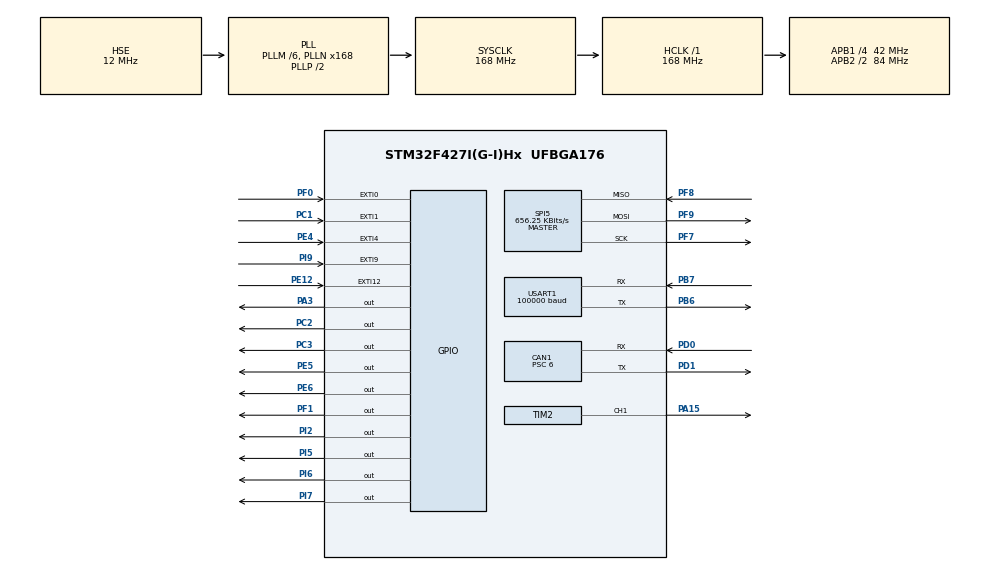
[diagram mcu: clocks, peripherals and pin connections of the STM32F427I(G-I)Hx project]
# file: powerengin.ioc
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CAN1.BS1=CAN_BS1_4TQ
CAN1.BS2=CAN_BS2_2TQ
CAN1.CalculateTimeQuantum=142.85714285714286
CAN1.Prescaler=6
CAN1.SJW=CAN_SJW_1TQ
Dma.Request0=USART1_RX
Dma.USART1_RX.0.Direction=DMA_PERIPH_TO_MEMORY
Dma.USART1_RX.0.FIFOMode=DMA_FIFOMODE_DISABLE
Dma.USART1_RX.0.Instance=DMA2_Stream2
Dma.USART1_RX.0.MemDataAlignment=DMA_MDATAALIGN_BYTE
Dma.USART1_RX.0.MemInc=DMA_MINC_ENABLE
Dma.USART1_RX.0.Mode=DMA_CIRCULAR
Dma.USART1_RX.0.PeriphDataAlignment=DMA_PDATAALIGN_BYTE
Dma.USART1_RX.0.PeriphInc=DMA_PINC_DISABLE
Dma.USART1_RX.0.Priority=DMA_PRIORITY_LOW
Mcu.Family=STM32F4
Mcu.Name=STM32F427I(G-I)Hx
Mcu.Package=UFBGA176
NVIC.CAN1_RX0_IRQn=true\:0\:0\:false\:false\:true\:true\:true
NVIC.DMA2_Stream2_IRQn=true\:0\:0\:false\:false\:true\:false\:true
NVIC.EXTI0_IRQn=true\:0\:0\:false\:false\:true\:true\:true
NVIC.EXTI15_10_IRQn=true\:0\:0\:false\:false\:true\:true\:true
NVIC.EXTI1_IRQn=true\:0\:0\:false\:false\:true\:true\:true
NVIC.EXTI4_IRQn=true\:0\:0\:false\:false\:true\:true\:true
NVIC.EXTI9_5_IRQn=true\:0\:0\:false\:false\:true\:true\:true
NVIC.PriorityGroup=NVIC_PRIORITYGROUP_4
NVIC.TIM2_IRQn=true\:0\:0\:false\:false\:true\:true\:true
PA15.Signal=S_TIM2_CH1_ETR
PA3.Signal=GPIO_Output
PB6.Mode=Asynchronous
PB6.Signal=USART1_TX
PB7.Mode=Asynchronous
PB7.Signal=USART1_RX
PC1.GPIO_ModeDefaultEXTI=GPIO_MODE_IT_FALLING
PC1.Signal=GPXTI1
PC2.Signal=GPIO_Output
PC3.Signal=GPIO_Output
PD0.Mode=Master
PD0.Signal=CAN1_RX
PD1.Mode=Master
PD1.Signal=CAN1_TX
PE12.GPIO_ModeDefaultEXTI=GPIO_MODE_IT_FALLING
PE12.Signal=GPXTI12
PE4.GPIO_ModeDefaultEXTI=GPIO_MODE_IT_FALLING
PE4.Signal=GPXTI4
PE5.Signal=GPIO_Output
PE6.Signal=GPIO_Output
PF0.GPIO_ModeDefaultEXTI=GPIO_MODE_IT_FALLING
PF0.Signal=GPXTI0
PF1.Signal=GPIO_Output
PF7.Mode=Full_Duplex_Master
PF7.Signal=SPI5_SCK
PF8.Mode=Full_Duplex_Master
PF8.Signal=SPI5_MISO
PF9.Mode=Full_Duplex_Master
PF9.Signal=SPI5_MOSI
PH0/OSC_IN.Mode=HSE-External-Oscillator
PH0/OSC_IN.Signal=RCC_OSC_IN
PH1/OSC_OUT.Mode=HSE-External-Oscillator
PH1/OSC_OUT.Signal=RCC_OSC_OUT
PI2.Signal=GPIO_Output
PI5.Signal=GPIO_Output
PI6.Signal=GPIO_Output
PI7.Signal=GPIO_Output
PI9.GPIO_ModeDefaultEXTI=GPIO_MODE_IT_FALLING
PI9.Signal=GPXTI9
ProjectManager.HeapSize=0x200
ProjectManager.StackSize=0x400
ProjectManager.TargetToolchain=MDK-ARM V5
RCC.48MHZClocksFreq_Value=84000000
RCC.AHBFreq_Value=168000000
RCC.APB1CLKDivider=RCC_HCLK_DIV4
RCC.APB1Freq_Value=42000000
RCC.APB1TimFreq_Value=84000000
RCC.APB2CLKDivider=RCC_HCLK_DIV2
RCC.APB2Freq_Value=84000000
RCC.APB2TimFreq_Value=168000000
RCC.CortexFreq_Value=168000000
RCC.HCLKFreq_Value=168000000
RCC.HSE_VALUE=12000000
RCC.HSI_VALUE=16000000
RCC.LSE_VALUE=32768
RCC.PLLM=6
RCC.PLLN=168
RCC.PLLSourceVirtual=RCC_PLLSOURCE_HSE
RCC.SYSCLKFreq_VALUE=168000000
RCC.SYSCLKSource=RCC_SYSCLKSOURCE_PLLCLK
RCC.VCOOutputFreq_Value=336000000
SH.S_TIM2_CH1_ETR.0=TIM2_CH1,Output Compare1 CH1
SPI5.BaudRatePrescaler=SPI_BAUDRATEPRESCALER_128
SPI5.CalculateBaudRate=656.25 KBits/s
SPI5.Direction=SPI_DIRECTION_2LINES
SPI5.Mode=SPI_MODE_MASTER
SPI5.VirtualType=VM_MASTER
TIM2.Channel-Output\ Compare1\ CH1=TIM_CHANNEL_1
TIM2.Period=19999
TIM2.Prescaler=83
USART1.BaudRate=100000
USART1.Parity=PARITY_EVEN
USART1.VirtualMode=VM_ASYNC
VP_TIM2_VS_ClockSourceINT.Mode=Internal
board=custom

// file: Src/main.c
/* USER CODE BEGIN Header */
/**
  ******************************************************************************
  * @file           : main.c
  * @brief          : Main program body
  ******************************************************************************
  * @attention
  *
  * <h2><center>&copy; Copyright (c) 2020 STMicroelectronics.
  * All rights reserved.</center></h2>
  *
  * This software component is licensed by ST under BSD 3-Clause license,
  * the "License"; You may not use this file except in compliance with the
  * License. You may obtain a copy of the License at:
  *                        opensource.org/licenses/BSD-3-Clause
  *
  ******************************************************************************
  */
/* USER CODE END Header */

#include "main.h"
#include "can.h"
#include "dma.h"
#include "spi.h"
#include "tim.h"
#include "usart.h"
#include "gpio.h"

/* USER CODE BEGIN Includes */
#include "runfunction.h"
#include "bsp_imu.h"
#include "get_data.h"
#include "pid.h"
#include "math.h"
/* USER CODE END Includes */

void SystemClock_Config(void);

int main(void)
{

  /* MCU Configuration--------------------------------------------------------*/

  /* Reset of all peripherals, Initializes the Flash interface and the Systick. */
  HAL_Init();

  /* Configure the system clock */
  SystemClock_Config();

  /* Initialize all configured peripherals */
  MX_GPIO_Init();
  MX_DMA_Init();
  MX_CAN1_Init();
  MX_USART1_UART_Init();
  MX_TIM2_Init();
  MX_SPI5_Init();
  /* USER CODE BEGIN 2 */

	led_off();
	mpu_device_init();
	init_quaternion();

	CANfilterConf(&hcan1);
	__HAL_UART_ENABLE_IT(&huart1,UART_IT_IDLE);
	HAL_UART_Receive_DMA(&huart1,	mybuffer,18);
	HAL_CAN_Start(&hcan1);
	Chassis_pid_init();

	get_number();
	middleLED(num[0]);
	HAL_TIM_Base_Start_IT(&htim2);
  /* USER CODE END 2 */

  /* Infinite loop */
  while (1)
  {

    /* USER CODE BEGIN 3 */
		mpu_get_data();
		//pid_calc(&pid_3508_remote_spd[0],-imu.wz,1);
		//pid_calc(&pid_3508_remote_spd[0],-imu.wz,0.785*sin(1.884*time1*0.02)+1.305);
		//Send_message(pid_3508_remote_spd[0].pos_out);
		HAL_Delay(10);
		if(j<5)
		{
			if(TIM_STA==125)
			{
				HAL_GPIO_WritePin(GPIOE, GPIO_PIN_5|GPIO_PIN_6, GPIO_PIN_RESET);
				HAL_GPIO_WritePin(GPIOI, GPIO_PIN_7|GPIO_PIN_6|GPIO_PIN_5|GPIO_PIN_2, GPIO_PIN_RESET);
				HAL_GPIO_WritePin(GPIOF, GPIO_PIN_1, GPIO_PIN_RESET);
				HAL_GPIO_WritePin(GPIOC, GPIO_PIN_2|GPIO_PIN_3, GPIO_PIN_RESET);
				HAL_GPIO_WritePin(GPIOA, GPIO_PIN_3, GPIO_PIN_RESET);

				get_number();
				middleLED(num[0]);
				TIM_STA=0;
				TIM2->CNT=0;
				j=0;
			}
		}
  }
  /* USER CODE END 3 */
}

void SystemClock_Config(void)
{
  RCC_OscInitTypeDef RCC_OscInitStruct = {0};
  RCC_ClkInitTypeDef RCC_ClkInitStruct = {0};

  /** Configure the main internal regulator output voltage
  */
  __HAL_RCC_PWR_CLK_ENABLE();
  __HAL_PWR_VOLTAGESCALING_CONFIG(PWR_REGULATOR_VOLTAGE_SCALE1);
  /** Initializes the CPU, AHB and APB busses clocks
  */
  RCC_OscInitStruct.OscillatorType = RCC_OSCILLATORTYPE_HSE;
  RCC_OscInitStruct.HSEState = RCC_HSE_ON;
  RCC_OscInitStruct.PLL.PLLState = RCC_PLL_ON;
  RCC_OscInitStruct.PLL.PLLSource = RCC_PLLSOURCE_HSE;
  RCC_OscInitStruct.PLL.PLLM = 6;
  RCC_OscInitStruct.PLL.PLLN = 168;
  RCC_OscInitStruct.PLL.PLLP = RCC_PLLP_DIV2;
  RCC_OscInitStruct.PLL.PLLQ = 4;
  if (HAL_RCC_OscConfig(&RCC_OscInitStruct) != HAL_OK)
  {
    Error_Handler();
  }
  /** Initializes the CPU, AHB and APB busses clocks
  */
  RCC_ClkInitStruct.ClockType = RCC_CLOCKTYPE_HCLK|RCC_CLOCKTYPE_SYSCLK
                              |RCC_CLOCKTYPE_PCLK1|RCC_CLOCKTYPE_PCLK2;
  RCC_ClkInitStruct.SYSCLKSource = RCC_SYSCLKSOURCE_PLLCLK;
  RCC_ClkInitStruct.AHBCLKDivider = RCC_SYSCLK_DIV1;
  RCC_ClkInitStruct.APB1CLKDivider = RCC_HCLK_DIV4;
  RCC_ClkInitStruct.APB2CLKDivider = RCC_HCLK_DIV2;

  if (HAL_RCC_ClockConfig(&RCC_ClkInitStruct, FLASH_LATENCY_5) != HAL_OK)
  {
    Error_Handler();
  }
}

void Error_Handler(void)
{
}

/************************ (C) COPYRIGHT STMicroelectronics *****END OF FILE****/
